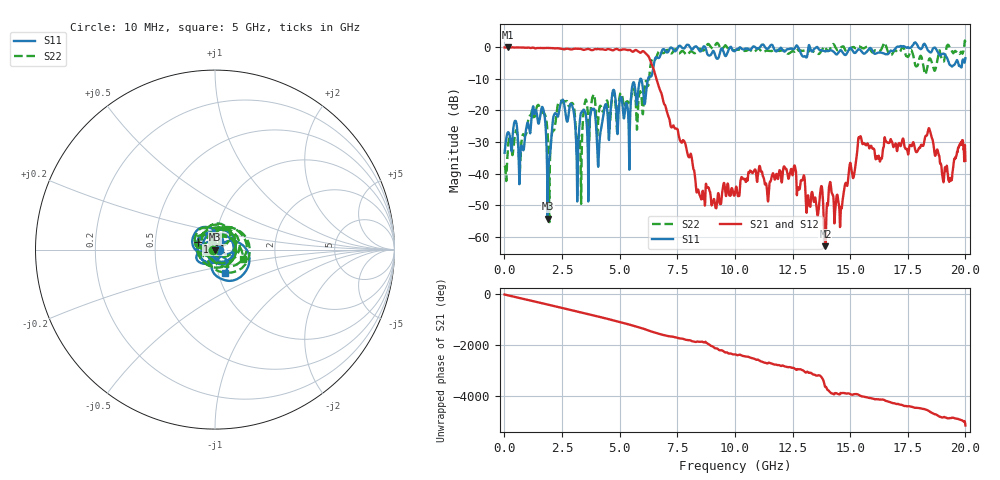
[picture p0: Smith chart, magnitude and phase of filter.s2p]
! File created by SignalIntegrity v1.1.10: Signal and Power Integrity Tools
! https://github.com/TeledyneLeCroy/SignalIntegrity
# MHz S MA R 50.0
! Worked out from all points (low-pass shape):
!   2000 points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, 10 MHz to 20 GHz, reference 50 ohm
!   highest |S21| = -0.13 dB at 160 MHz (marker M1); lowest = -62.9 dB at 13.93 GHz (marker M2)
!   |S21| within 3 dB of the highest: start of sweep to 6.264 GHz
!   lowest |S11| = -54.2 dB at 1.88 GHz (marker M3), VSWR 1.00, Z = 49.8 + j0.042 ohm
!   |S11| at or under -10 dB: start of sweep to 6.238 GHz
!   |S22| runs from -55.3 to 2.0 dB; largest |S21 - S12| = 0
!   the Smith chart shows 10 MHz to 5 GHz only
!   S11 on the Smith chart (normalised r, x): 10 MHz: 1.04, -0.00; 1.61 GHz: 0.82, +0.07; 5 GHz: 1.08, -0.29
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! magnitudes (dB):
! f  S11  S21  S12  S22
! 10 MHz  -33.4  -0.2  -0.2  -37.5
! 160 MHz  -26.9  -0.1  -0.1  -31.3
! 720 MHz  -31.7  -0.2  -0.2  -31.9
! 1.61 GHz  -19.5  -0.4  -0.4  -20.1
! 1.88 GHz  -54.2  -0.3  -0.3  -27.8
! 2.48 GHz  -17.1  -0.6  -0.6  -17.3
! 3.16 GHz  -48.8  -0.6  -0.6  -33.9
! 3.35 GHz  -20.6  -0.7  -0.7  -34.9
! 3.51 GHz  -20.7  -0.8  -0.8  -17.1
! 4.09 GHz  -35.0  -0.7  -0.7  -21.1
! 5 GHz  -17.0  -1.0  -1.0  -15.6
! 5.79 GHz  -15.3  -1.4  -1.4  -20.3
! 6.68 GHz  -3.5  -12.1  -12.1  -1.7
! 8.45 GHz  -1.1  -46.2  -46.2  -0.6
! 10.01 GHz  -1.3  -45.9  -45.9  -1.0
! 12.53 GHz  -0.7  -39.5  -39.5  -1.4
! 13.34 GHz  -1.5  -45.8  -45.8  -1.2
! 13.93 GHz  -1.4  -62.9  -62.9  -0.2
! 15.42 GHz  -0.8  -28.5  -28.5  0.1
! 16.67 GHz  -2.1  -30.3  -30.3  -2.0
! 19.33 GHz  -5.7  -41.8  -41.8  -0.4
! 20 GHz  -3.6  -35.9  -35.9  1.5
